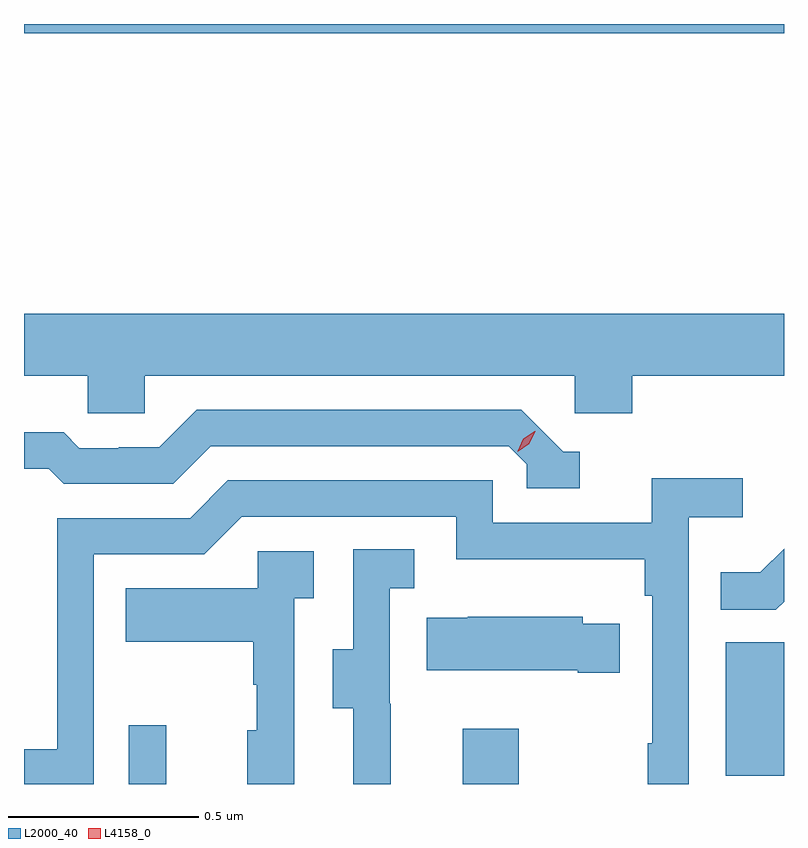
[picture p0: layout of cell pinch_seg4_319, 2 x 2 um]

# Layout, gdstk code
import gdstk
lib = gdstk.Library(unit=1e-6, precision=1e-09)
def R(c, l, rs):  # rectangles x0, y0, x1, y1
    for r in rs: c.add(gdstk.rectangle(r[:2], r[2:], *l))
def P(c, l, *ps):  # polygons
    for p in ps: c.add(gdstk.Polygon(p, *l))
L2000_40 = (2000, 40)
L4158_0 = (4158, 0)

pinch_seg4_319 = lib.new_cell('pinch_seg4_319')
R(pinch_seg4_319, L2000_40, [(938.553,795.746,938.651,795.901), (939.431,795.746,939.579,795.892), (940.124,795.768,940.277,796.119), (938.277,797.722,940.277,797.746)])
P(pinch_seg4_319, L2000_40, [(938.595,796.82),(939.726,796.82),(939.726,796.722),(939.878,796.722),(939.878,796.82),(940.277,796.82),(940.277,796.984),(938.277,796.984),(938.277,796.82),(938.445,796.82),(938.445,796.722),(938.595,796.722)],
  [(939.739,796.62),(939.696,796.62),(939.585,796.731),(938.732,796.731),(938.633,796.632),(938.526,796.632),(938.526,796.629),(938.423,796.629),(938.381,796.672),(938.277,796.672),(938.277,796.575),(938.342,796.575),(938.381,796.536),(938.67,796.536),(938.769,796.635),(939.552,796.635),(939.6,796.587),(939.6,796.524),(939.739,796.524)],
  [(938.46,796.35),(938.751,796.35),(938.85,796.449),(939.414,796.449),(939.414,796.337),(939.91,796.337),(939.91,796.241),(939.93,796.241),(939.93,795.853),(939.918,795.853),(939.918,795.746),(940.026,795.746),(940.026,796.448),(940.168,796.448),(940.168,796.55),(939.929,796.55),(939.929,796.434),(939.51,796.434),(939.51,796.545),(938.813,796.545),(938.714,796.446),(938.364,796.446),(938.364,795.837),(938.277,795.837),(938.277,795.746),(938.46,795.746)],
  [(940.277,796.226),(940.277,796.365),(940.215,796.303),(940.111,796.303),(940.111,796.204),(940.255,796.204)],
  [(939.242,795.957),(939.24,795.957),(939.24,796.261),(939.304,796.261),(939.304,796.364),(939.144,796.364),(939.144,796.101),(939.089,796.101),(939.089,795.946),(939.143,795.946),(939.143,795.746),(939.242,795.746)],
  [(938.988,796.235),(939.04,796.235),(939.04,796.359),(938.892,796.359),(938.892,796.261),(938.545,796.261),(938.545,796.121),(938.88,796.121),(938.88,796.007),(938.89,796.007),(938.89,795.888),(938.864,795.888),(938.864,795.746),(938.988,795.746)],
  [(939.845,796.168),(939.747,796.168),(939.747,796.186),(939.445,796.186),(939.445,796.183),(939.337,796.183),(939.337,796.046),(939.734,796.046),(939.734,796.039),(939.845,796.039)])
P(pinch_seg4_319, L4158_0, [(939.576,796.621),(939.576,796.622),(939.591,796.654),(939.621,796.674),(939.622,796.674),(939.622,796.674),(939.606,796.641),(939.576,796.621)])

lib.write_gds('pinch_seg4_319.gds')
